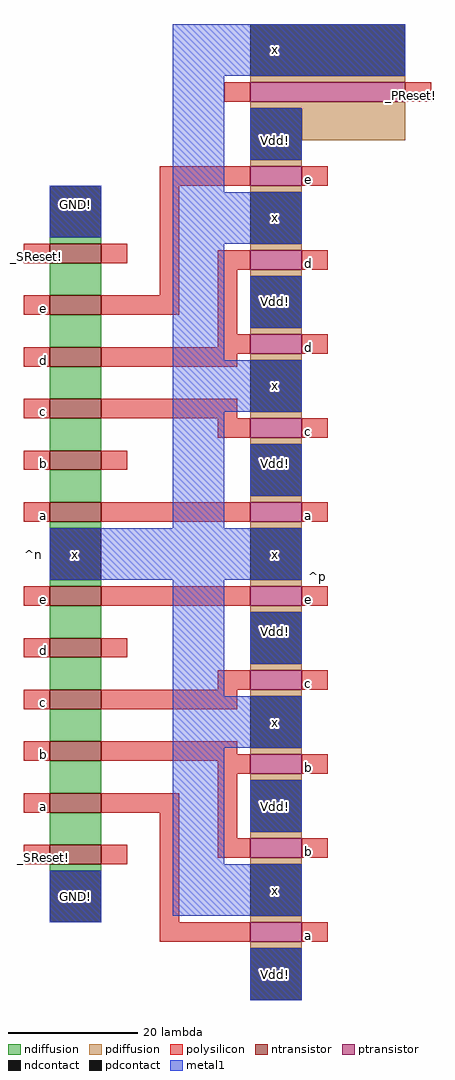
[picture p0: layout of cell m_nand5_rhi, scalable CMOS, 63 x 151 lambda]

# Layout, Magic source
magic
tech scmos
<< ndiffusion >>
rect -205 -739 -197 -738
rect -205 -747 -197 -742
rect -205 -755 -197 -750
rect -205 -763 -197 -758
rect -205 -771 -197 -766
rect -205 -779 -197 -774
rect -205 -783 -197 -782
rect -205 -792 -197 -791
rect -205 -800 -197 -795
rect -205 -808 -197 -803
rect -205 -816 -197 -811
rect -205 -824 -197 -819
rect -205 -832 -197 -827
rect -205 -836 -197 -835
<< pdiffusion >>
rect -174 -714 -150 -713
rect -174 -718 -150 -717
rect -166 -723 -150 -718
rect -174 -727 -166 -726
rect -174 -731 -166 -730
rect -174 -740 -166 -739
rect -174 -744 -166 -743
rect -174 -753 -166 -752
rect -174 -757 -166 -756
rect -174 -766 -166 -765
rect -174 -770 -166 -769
rect -174 -779 -166 -778
rect -174 -783 -166 -782
rect -174 -792 -166 -791
rect -174 -796 -166 -795
rect -174 -805 -166 -804
rect -174 -809 -166 -808
rect -174 -818 -166 -817
rect -174 -822 -166 -821
rect -174 -831 -166 -830
rect -174 -835 -166 -834
rect -174 -844 -166 -843
rect -174 -848 -166 -847
<< ntransistor >>
rect -205 -742 -197 -739
rect -205 -750 -197 -747
rect -205 -758 -197 -755
rect -205 -766 -197 -763
rect -205 -774 -197 -771
rect -205 -782 -197 -779
rect -205 -795 -197 -792
rect -205 -803 -197 -800
rect -205 -811 -197 -808
rect -205 -819 -197 -816
rect -205 -827 -197 -824
rect -205 -835 -197 -832
<< ptransistor >>
rect -174 -717 -150 -714
rect -174 -730 -166 -727
rect -174 -743 -166 -740
rect -174 -756 -166 -753
rect -174 -769 -166 -766
rect -174 -782 -166 -779
rect -174 -795 -166 -792
rect -174 -808 -166 -805
rect -174 -821 -166 -818
rect -174 -834 -166 -831
rect -174 -847 -166 -844
<< polysilicon >>
rect -178 -717 -174 -714
rect -150 -717 -146 -714
rect -188 -730 -174 -727
rect -166 -730 -162 -727
rect -209 -742 -205 -739
rect -197 -742 -193 -739
rect -188 -747 -185 -730
rect -209 -750 -205 -747
rect -197 -750 -185 -747
rect -179 -743 -174 -740
rect -166 -743 -162 -740
rect -179 -753 -176 -743
rect -179 -755 -174 -753
rect -209 -758 -205 -755
rect -197 -756 -174 -755
rect -166 -756 -162 -753
rect -197 -758 -176 -756
rect -209 -766 -205 -763
rect -197 -766 -176 -763
rect -179 -769 -174 -766
rect -166 -769 -162 -766
rect -209 -774 -205 -771
rect -197 -774 -193 -771
rect -209 -782 -205 -779
rect -197 -782 -174 -779
rect -166 -782 -162 -779
rect -209 -795 -205 -792
rect -197 -795 -174 -792
rect -166 -795 -162 -792
rect -209 -803 -205 -800
rect -197 -803 -193 -800
rect -179 -808 -174 -805
rect -166 -808 -162 -805
rect -209 -811 -205 -808
rect -197 -811 -176 -808
rect -209 -819 -205 -816
rect -197 -818 -176 -816
rect -197 -819 -174 -818
rect -179 -821 -174 -819
rect -166 -821 -162 -818
rect -209 -827 -205 -824
rect -197 -827 -185 -824
rect -209 -835 -205 -832
rect -197 -835 -193 -832
rect -188 -844 -185 -827
rect -179 -831 -176 -821
rect -179 -834 -174 -831
rect -166 -834 -162 -831
rect -188 -847 -174 -844
rect -166 -847 -162 -844
<< ndcontact >>
rect -205 -738 -197 -730
rect -205 -791 -197 -783
rect -205 -844 -197 -836
<< pdcontact >>
rect -174 -713 -150 -705
rect -174 -726 -166 -718
rect -174 -739 -166 -731
rect -174 -752 -166 -744
rect -174 -765 -166 -757
rect -174 -778 -166 -770
rect -174 -791 -166 -783
rect -174 -804 -166 -796
rect -174 -817 -166 -809
rect -174 -830 -166 -822
rect -174 -843 -166 -835
rect -174 -856 -166 -848
<< metal1 >>
rect -186 -713 -150 -705
rect -205 -738 -197 -730
rect -186 -731 -178 -713
rect -174 -726 -166 -718
rect -186 -739 -166 -731
rect -186 -757 -178 -739
rect -174 -752 -166 -744
rect -186 -765 -166 -757
rect -186 -783 -178 -765
rect -174 -778 -166 -770
rect -205 -791 -166 -783
rect -186 -809 -178 -791
rect -174 -804 -166 -796
rect -186 -817 -166 -809
rect -186 -835 -178 -817
rect -174 -830 -166 -822
rect -205 -844 -197 -836
rect -186 -843 -166 -835
rect -174 -856 -166 -848
<< labels >>
rlabel metal1 -170 -773 -170 -773 5 Vdd!
rlabel metal1 -170 -799 -170 -799 5 Vdd!
rlabel metal1 -170 -852 -170 -852 1 Vdd!
rlabel metal1 -170 -761 -170 -761 5 x
rlabel metal1 -170 -723 -170 -723 1 Vdd!
rlabel metal1 -170 -735 -170 -735 5 x
rlabel metal1 -170 -748 -170 -748 1 Vdd!
rlabel metal1 -170 -787 -170 -787 1 x
rlabel metal1 -170 -813 -170 -813 5 x
rlabel metal1 -170 -839 -170 -839 1 x
rlabel metal1 -170 -826 -170 -826 1 Vdd!
rlabel polysilicon -165 -729 -165 -729 7 e
rlabel polysilicon -165 -794 -165 -794 7 e
rlabel polysilicon -165 -846 -165 -846 7 a
rlabel polysilicon -165 -781 -165 -781 7 a
rlabel polysilicon -165 -768 -165 -768 7 c
rlabel polysilicon -165 -807 -165 -807 7 c
rlabel polysilicon -165 -833 -165 -833 7 b
rlabel polysilicon -165 -820 -165 -820 7 b
rlabel polysilicon -165 -755 -165 -755 7 d
rlabel polysilicon -165 -742 -165 -742 7 d
rlabel metal1 -170 -709 -170 -709 5 x
rlabel polysilicon -206 -781 -206 -781 3 a
rlabel polysilicon -206 -773 -206 -773 3 b
rlabel polysilicon -206 -765 -206 -765 3 c
rlabel metal1 -201 -787 -201 -787 5 x
rlabel polysilicon -206 -757 -206 -757 1 d
rlabel polysilicon -206 -810 -206 -810 3 c
rlabel polysilicon -206 -818 -206 -818 3 b
rlabel polysilicon -206 -826 -206 -826 3 a
rlabel polysilicon -206 -802 -206 -802 1 d
rlabel polysilicon -206 -794 -206 -794 3 e
rlabel polysilicon -206 -749 -206 -749 3 e
rlabel metal1 -201 -733 -201 -733 5 GND!
rlabel polysilicon -207 -741 -207 -741 1 _SReset!
rlabel polysilicon -206 -834 -206 -834 1 _SReset!
rlabel metal1 -201 -840 -201 -840 1 GND!
rlabel space -210 -844 -205 -730 7 ^n
rlabel space -166 -856 -161 -725 3 ^p
rlabel polysilicon -149 -716 -149 -716 7 _PReset!
<< end >>
